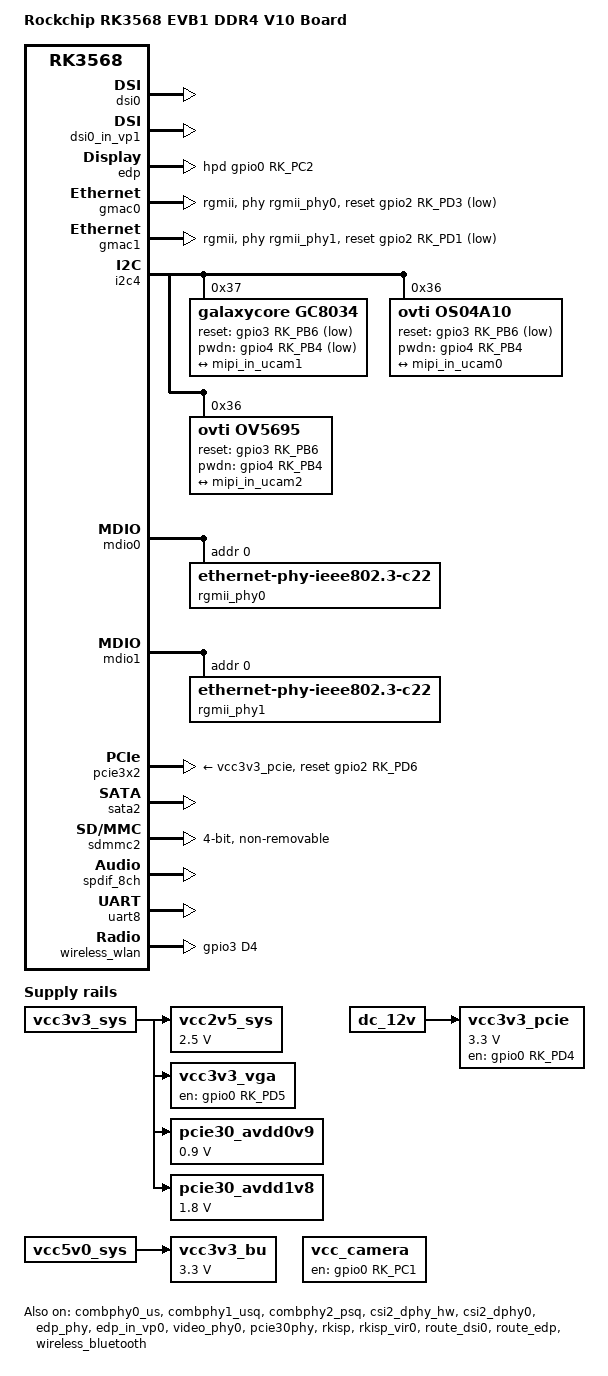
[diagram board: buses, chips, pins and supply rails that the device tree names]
// SPDX-License-Identifier: (GPL-2.0+ OR MIT)
/*
 * Copyright (c) 2020 Rockchip Electronics Co., Ltd.
 *
 */

/dts-v1/;

#include <dt-bindings/gpio/gpio.h>
#include <dt-bindings/pinctrl/rockchip.h>
#include "rk3568.dtsi"
#include "rk3568-evb.dtsi"

/ {
	model = "Rockchip RK3568 EVB1 DDR4 V10 Board";
	compatible = "rockchip,rk3568-evb1-ddr4-v10", "rockchip,rk3568";

	vcc2v5_sys: vcc2v5-ddr {
		compatible = "regulator-fixed";
		regulator-name = "vcc2v5-sys";
		regulator-always-on;
		regulator-boot-on;
		regulator-min-microvolt = <2500000>;
		regulator-max-microvolt = <2500000>;
		vin-supply = <&vcc3v3_sys>;
	};

	vcc3v3_vga: vcc3v3-vga {
		compatible = "regulator-fixed";
		regulator-name = "vcc3v3_vga";
		regulator-always-on;
		regulator-boot-on;
		gpio = <&gpio0 RK_PD5 GPIO_ACTIVE_HIGH>;
		enable-active-high;
		vin-supply = <&vcc3v3_sys>;
	};

	pcie30_avdd0v9: pcie30-avdd0v9 {
		compatible = "regulator-fixed";
		regulator-name = "pcie30_avdd0v9";
		regulator-always-on;
		regulator-boot-on;
		regulator-min-microvolt = <900000>;
		regulator-max-microvolt = <900000>;
		vin-supply = <&vcc3v3_sys>;
	};

	pcie30_avdd1v8: pcie30-avdd1v8 {
		compatible = "regulator-fixed";
		regulator-name = "pcie30_avdd1v8";
		regulator-always-on;
		regulator-boot-on;
		regulator-min-microvolt = <1800000>;
		regulator-max-microvolt = <1800000>;
		vin-supply = <&vcc3v3_sys>;
	};

	vcc3v3_pcie: gpio-regulator {
		compatible = "regulator-fixed";
		regulator-name = "vcc3v3_pcie";
		regulator-min-microvolt = <3300000>;
		regulator-max-microvolt = <3300000>;
		enable-active-high;
		gpio = <&gpio0 RK_PD4 GPIO_ACTIVE_HIGH>;
		startup-delay-us = <5000>;
		vin-supply = <&dc_12v>;
	};

	vcc3v3_bu: vcc3v3-bu {
		compatible = "regulator-fixed";
		regulator-name = "vcc3v3_bu";
		regulator-always-on;
		regulator-boot-on;
		regulator-min-microvolt = <3300000>;
		regulator-max-microvolt = <3300000>;
		vin-supply = <&vcc5v0_sys>;
	};

	vcc_camera: vcc-camera-regulator {
		compatible = "regulator-fixed";
		gpio = <&gpio0 RK_PC1 GPIO_ACTIVE_HIGH>;
		pinctrl-names = "default";
		pinctrl-0 = <&camera_pwr>;
		regulator-name = "vcc_camera";
		enable-active-high;
		regulator-always-on;
		regulator-boot-on;
	};
};

&combphy0_us {
	status = "okay";
};

&combphy1_usq {
	status = "okay";
};

&combphy2_psq {
	status = "okay";
};

&csi2_dphy_hw {
	status = "okay";
};

&csi2_dphy0 {
	status = "okay";

	ports {
		#address-cells = <1>;
		#size-cells = <0>;
		port@0 {
			reg = <0>;
			#address-cells = <1>;
			#size-cells = <0>;

			mipi_in_ucam0: endpoint@1 {
				reg = <1>;
				remote-endpoint = <&ucam_out0>;
				data-lanes = <1 2 3 4>;
			};
			mipi_in_ucam1: endpoint@2 {
				reg = <2>;
				remote-endpoint = <&gc8034_out>;
				data-lanes = <1 2 3 4>;
			};
			mipi_in_ucam2: endpoint@3 {
				reg = <3>;
				remote-endpoint = <&ov5695_out>;
				data-lanes = <1 2>;
			};
		};
		port@1 {
			reg = <1>;
			#address-cells = <1>;
			#size-cells = <0>;

			csidphy_out: endpoint@0 {
				reg = <0>;
				remote-endpoint = <&isp0_in>;
			};
		};
	};
};

/*
 * video_phy0 needs to be enabled
 * when dsi0 is enabled
 */
&dsi0 {
	status = "okay";
};

&dsi0_in_vp0 {
	status = "disabled";
};

&dsi0_in_vp1 {
	status = "okay";
};

&dsi0_panel {
	power-supply = <&vcc3v3_lcd0_n>;
};

/*
 * video_phy1 needs to be enabled
 * when dsi1 is enabled
 */
&dsi1 {
	status = "disabled";
};

&dsi1_in_vp0 {
	status = "disabled";
};

&dsi1_in_vp1 {
	status = "disabled";
};

&dsi1_panel {
	power-supply = <&vcc3v3_lcd1_n>;
};

&edp {
	hpd-gpios = <&gpio0 RK_PC2 GPIO_ACTIVE_HIGH>;
	status = "okay";
};

&edp_phy {
	status = "okay";
};

&edp_in_vp0 {
	status = "okay";
};

&edp_in_vp1 {
	status = "disabled";
};

&gmac0 {
	phy-mode = "rgmii";
	clock_in_out = "output";

	snps,reset-gpio = <&gpio2 RK_PD3 GPIO_ACTIVE_LOW>;
	snps,reset-active-low;
	/* Reset time is 20ms, 100ms for rtl8211f */
	snps,reset-delays-us = <0 20000 100000>;

	assigned-clocks = <&cru SCLK_GMAC0_RX_TX>, <&cru SCLK_GMAC0>;
	assigned-clock-parents = <&cru SCLK_GMAC0_RGMII_SPEED>, <&cru CLK_MAC0_2TOP>;
	assigned-clock-rates = <0>, <125000000>;

	pinctrl-names = "default";
	pinctrl-0 = <&gmac0_miim
		     &gmac0_tx_bus2
		     &gmac0_rx_bus2
		     &gmac0_rgmii_clk
		     &gmac0_rgmii_bus>;

	tx_delay = <0x3c>;
	rx_delay = <0x2f>;

	phy-handle = <&rgmii_phy0>;
	status = "okay";
};

&gmac1 {
	phy-mode = "rgmii";
	clock_in_out = "output";

	snps,reset-gpio = <&gpio2 RK_PD1 GPIO_ACTIVE_LOW>;
	snps,reset-active-low;
	/* Reset time is 20ms, 100ms for rtl8211f */
	snps,reset-delays-us = <0 20000 100000>;

	assigned-clocks = <&cru SCLK_GMAC1_RX_TX>, <&cru SCLK_GMAC1>;
	assigned-clock-parents = <&cru SCLK_GMAC1_RGMII_SPEED>, <&cru CLK_MAC1_2TOP>;
	assigned-clock-rates = <0>, <125000000>;

	pinctrl-names = "default";
	pinctrl-0 = <&gmac1m1_miim
		     &gmac1m1_tx_bus2
		     &gmac1m1_rx_bus2
		     &gmac1m1_rgmii_clk
		     &gmac1m1_rgmii_bus>;

	tx_delay = <0x4f>;
	rx_delay = <0x26>;

	phy-handle = <&rgmii_phy1>;
	status = "okay";
};

/*
 * power-supply should switche to vcc3v3_lcd1_n
 * when mipi panel is connected to dsi1.
 */
&gt1x {
	power-supply = <&vcc3v3_lcd0_n>;
};

&i2c4 {
	status = "okay";
	gc8034: gc8034@37 {
		compatible = "galaxycore,gc8034";
		status = "okay";
		reg = <0x37>;
		clocks = <&cru CLK_CIF_OUT>;
		clock-names = "xvclk";
		pinctrl-names = "default";
		pinctrl-0 = <&cif_clk>;
		reset-gpios = <&gpio3 RK_PB6 GPIO_ACTIVE_LOW>;
		pwdn-gpios = <&gpio4 RK_PB4 GPIO_ACTIVE_LOW>;
		rockchip,grf = <&grf>;
		rockchip,camera-module-index = <0>;
		rockchip,camera-module-facing = "back";
		rockchip,camera-module-name = "RK-CMK-8M-2-v1";
		rockchip,camera-module-lens-name = "CK8401";
		port {
			gc8034_out: endpoint {
				remote-endpoint = <&mipi_in_ucam1>;
				data-lanes = <1 2 3 4>;
			};
		};
	};
	os04a10: os04a10@36 {
		compatible = "ovti,os04a10";
		reg = <0x36>;
		clocks = <&cru CLK_CIF_OUT>;
		clock-names = "xvclk";
		power-domains = <&power RK3568_PD_VI>;
		pinctrl-names = "default";
		pinctrl-0 = <&cif_clk>;
		reset-gpios = <&gpio3 RK_PB6 GPIO_ACTIVE_LOW>;
		pwdn-gpios = <&gpio4 RK_PB4 GPIO_ACTIVE_HIGH>;
		rockchip,camera-module-index = <0>;
		rockchip,camera-module-facing = "back";
		rockchip,camera-module-name = "CMK-OT1607-FV1";
		rockchip,camera-module-lens-name = "M12-40IRC-4MP-F16";
		port {
			ucam_out0: endpoint {
				remote-endpoint = <&mipi_in_ucam0>;
				data-lanes = <1 2 3 4>;
			};
		};
	};
	ov5695: ov5695@36 {
		status = "okay";
		compatible = "ovti,ov5695";
		reg = <0x36>;
		clocks = <&cru CLK_CIF_OUT>;
		clock-names = "xvclk";
		power-domains = <&power RK3568_PD_VI>;
		pinctrl-names = "default";
		pinctrl-0 = <&cif_clk>;
		reset-gpios = <&gpio3 RK_PB6 GPIO_ACTIVE_HIGH>;
		pwdn-gpios = <&gpio4 RK_PB4 GPIO_ACTIVE_HIGH>;
		rockchip,camera-module-index = <0>;
		rockchip,camera-module-facing = "back";
		rockchip,camera-module-name = "TongJu";
		rockchip,camera-module-lens-name = "CHT842-MD";
		port {
			ov5695_out: endpoint {
				remote-endpoint = <&mipi_in_ucam2>;
				data-lanes = <1 2>;
			};
		};
	};
};

&mdio0 {
	rgmii_phy0: phy@0 {
		compatible = "ethernet-phy-ieee802.3-c22";
		reg = <0x0>;
	};
};

&mdio1 {
	rgmii_phy1: phy@0 {
		compatible = "ethernet-phy-ieee802.3-c22";
		reg = <0x0>;
	};
};

&video_phy0 {
	status = "okay";
};

&video_phy1 {
	status = "disabled";
};

&pcie30phy {
	status = "okay";
};

&pcie3x2 {
	reset-gpios = <&gpio2 RK_PD6 GPIO_ACTIVE_HIGH>;
	vpcie3v3-supply = <&vcc3v3_pcie>;
	status = "okay";
};

&pinctrl {
	cam {
		camera_pwr: camera-pwr {
			rockchip,pins =
				/* camera power en */
				<0 RK_PC1 RK_FUNC_GPIO &pcfg_pull_none>;
		};
	};
	headphone {
		hp_det: hp-det {
			rockchip,pins = <3 RK_PC2 RK_FUNC_GPIO &pcfg_pull_down>;
		};
	};

	wireless-wlan {
		wifi_host_wake_irq: wifi-host-wake-irq {
			rockchip,pins = <3 RK_PD4 RK_FUNC_GPIO &pcfg_pull_down>;
		};
	};

	wireless-bluetooth {
		uart8_gpios: uart8-gpios {
			rockchip,pins = <2 RK_PB1 RK_FUNC_GPIO &pcfg_pull_none>;
		};
	};
};

&rk809_sound {
	hp-det-gpio = <&gpio3 RK_PC2 GPIO_ACTIVE_LOW>;
};

&rkisp {
	status = "okay";
};

&rkisp_mmu {
	status = "okay";
};

&rkisp_vir0 {
	status = "okay";

	port {
		#address-cells = <1>;
		#size-cells = <0>;

		isp0_in: endpoint@0 {
			reg = <0>;
			remote-endpoint = <&csidphy_out>;
		};
	};
};

&route_dsi0 {
	status = "okay";
	connect = <&vp1_out_dsi0>;
};

&route_edp {
	status = "okay";
	connect = <&vp0_out_edp>;
};

&sata2 {
	status = "okay";
};

&sdmmc2 {
	max-frequency = <150000000>;
	no-sd;
	no-mmc;
	bus-width = <4>;
	disable-wp;
	cap-sd-highspeed;
	cap-sdio-irq;
	keep-power-in-suspend;
	mmc-pwrseq = <&sdio_pwrseq>;
	non-removable;
	pinctrl-names = "default";
	pinctrl-0 = <&sdmmc2m0_bus4 &sdmmc2m0_cmd &sdmmc2m0_clk>;
	sd-uhs-sdr104;
	status = "okay";
};

&spdif_8ch {
	status = "okay";
	pinctrl-names = "default";
	pinctrl-0 = <&spdifm1_tx>;
};

&uart8 {
	status = "okay";
	pinctrl-names = "default";
	pinctrl-0 = <&uart8m0_xfer &uart8m0_ctsn>;
};

&vcc3v3_lcd0_n {
	gpio = <&gpio0 RK_PC7 GPIO_ACTIVE_HIGH>;
	enable-active-high;
};

&vcc3v3_lcd1_n {
	gpio = <&gpio0 RK_PC5 GPIO_ACTIVE_HIGH>;
	enable-active-high;
};

&wireless_wlan {
	pinctrl-names = "default";
	pinctrl-0 = <&wifi_host_wake_irq>;
	WIFI,host_wake_irq = <&gpio3 RK_PD4 GPIO_ACTIVE_HIGH>;
};

&wireless_bluetooth {
	compatible = "bluetooth-platdata";
	clocks = <&rk809 1>;
	clock-names = "ext_clock";
	//wifi-bt-power-toggle;
	uart_rts_gpios = <&gpio2 RK_PB1 GPIO_ACTIVE_LOW>;
	pinctrl-names = "default", "rts_gpio";
	pinctrl-0 = <&uart8m0_rtsn>;
	pinctrl-1 = <&uart8_gpios>;
	BT,reset_gpio    = <&gpio3 RK_PA0 GPIO_ACTIVE_HIGH>;
	BT,wake_gpio     = <&gpio3 RK_PA2 GPIO_ACTIVE_HIGH>;
	BT,wake_host_irq = <&gpio3 RK_PA1 GPIO_ACTIVE_HIGH>;
	status = "okay";
};
